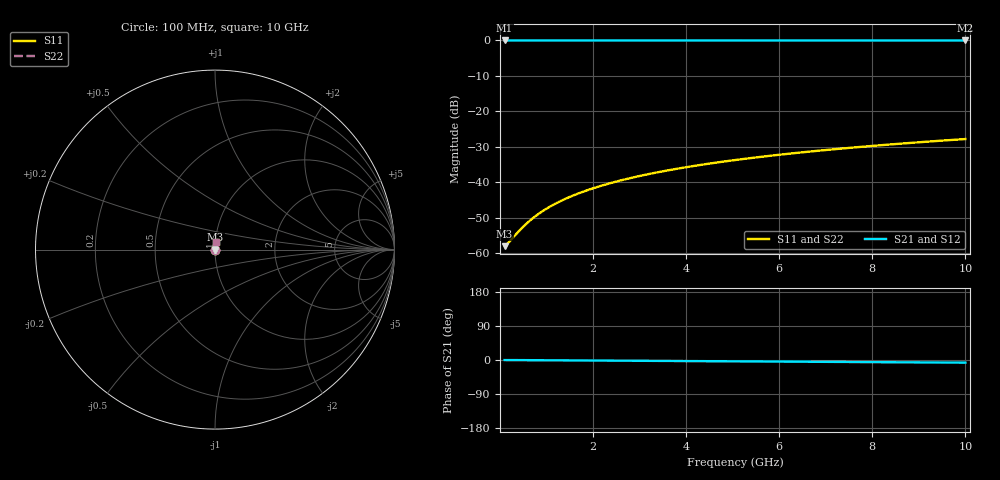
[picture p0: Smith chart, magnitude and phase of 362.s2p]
# Hz S RI R 50.00
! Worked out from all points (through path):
!   100 points, 100 MHz to 10 GHz, reference 50 ohm
!   highest |S21| = -0.01 dB at 100 MHz (marker M1); lowest = 0.0 dB at 10 GHz (marker M2)
!   lowest |S11| = -58.0 dB at 100 MHz (marker M3), VSWR 1.00, Z = 50.1 + j0.0407 ohm
!   |S11| at or under -10 dB: start of sweep to end of sweep
!   |S22| runs from -58.0 to -27.8 dB; largest |S21 - S12| = 0
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1e8  0.0012 0.000406  0.9988 -0.00121  0.9988 -0.00121  0.0012 0.000406
2e8  0.0012 0.000813  0.9988 -0.00243  0.9988 -0.00243  0.0012 0.000813
4e8  0.00122 0.00163  0.9988 -0.00486  0.9988 -0.00486  0.00122 0.00163
5e8  0.00123 0.00203  0.9988 -0.00607  0.9988 -0.00607  0.00123 0.00203
6e8  0.00124 0.00244  0.9987 -0.00729  0.9987 -0.00729  0.00124 0.00244
7e8  0.00125 0.00284  0.9987 -0.0085  0.9987 -0.0085  0.00125 0.00284
9e8  0.00127 0.00366  0.9987 -0.0109  0.9987 -0.0109  0.00127 0.00366
1.1e9  0.00129 0.00447  0.9987 -0.0134  0.9987 -0.0134  0.00129 0.00447
1.3e9  0.00132 0.00528  0.9986 -0.0158  0.9986 -0.0158  0.00132 0.00528
1.5e9  0.00135 0.00609  0.9986 -0.0182  0.9986 -0.0182  0.00135 0.00609
1.8e9  0.0014 0.00731  0.9985 -0.0219  0.9985 -0.0219  0.0014 0.00731
2.1e9  0.00147 0.00853  0.9984 -0.0255  0.9984 -0.0255  0.00147 0.00853
2.5e9  0.00156 0.0101  0.9982 -0.0304  0.9982 -0.0304  0.00156 0.0101
2.9e9  0.00167 0.0118  0.998 -0.0352  0.998 -0.0352  0.00167 0.0118
3.4e9  0.00183 0.0138  0.9978 -0.0413  0.9978 -0.0413  0.00183 0.0138
4.2e9  0.00214 0.017  0.9972 -0.051  0.9972 -0.051  0.00214 0.017
5.1e9  0.00256 0.0207  0.9965 -0.062  0.9965 -0.062  0.00256 0.0207
5.9e9  0.00301 0.0239  0.9958 -0.0717  0.9958 -0.0717  0.00301 0.0239
6.7e9  0.00351 0.0271  0.995 -0.0814  0.995 -0.0814  0.00351 0.0271
7.5e9  0.00408 0.0303  0.994 -0.0911  0.994 -0.0911  0.00408 0.0303
8.4e9  0.0048 0.0339  0.9928 -0.1021  0.9928 -0.1021  0.0048 0.0339
1e10  0.00627 0.0403  0.9904 -0.1215  0.9904 -0.1215  0.00627 0.0403
